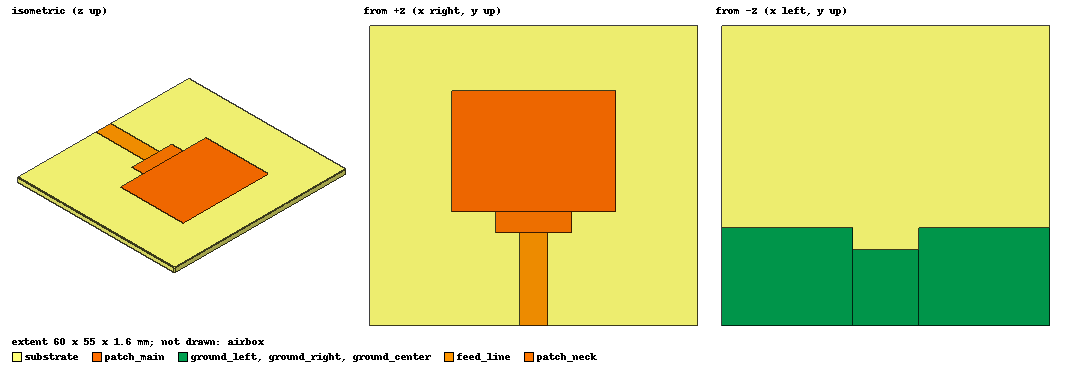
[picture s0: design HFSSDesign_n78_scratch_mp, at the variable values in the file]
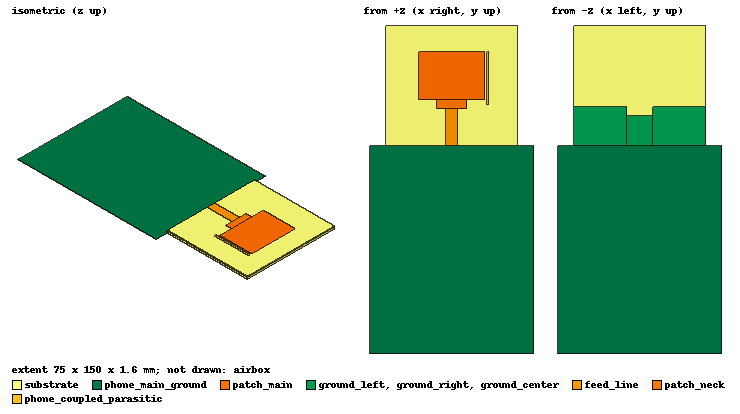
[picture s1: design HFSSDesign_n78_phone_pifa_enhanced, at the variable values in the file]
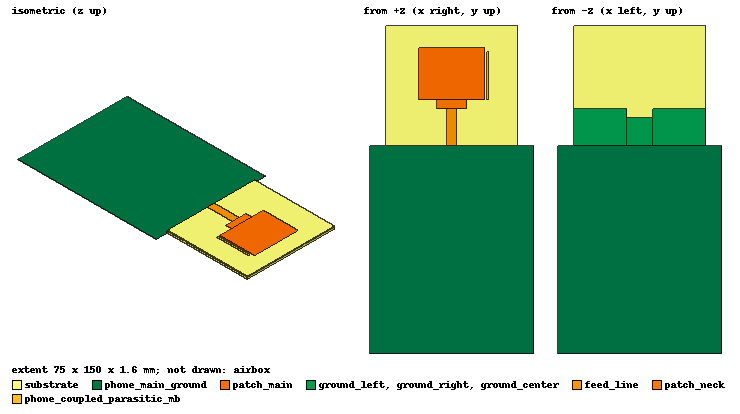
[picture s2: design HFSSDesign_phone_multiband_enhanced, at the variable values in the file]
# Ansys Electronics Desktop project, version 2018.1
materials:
  vacuum: permittivity=1
  Rogers RT/duroid 5880 (tm): permittivity=2.2 dielectric_loss_tangent=0.0009
  copper: permeability=0.999991 conductivity=58000000

design HFSSDesign_n78_scratch_mp (HFSS, DrivenModal, model units mm)
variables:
  subW = 60mm
  subL = 55mm
  h = 1.6mm
  airX = 170mm
  airBack = 38mm
  airFront = 75mm
  airZUp = 60mm
  airZDown = 50mm
  Wf = 5.2mm
  Lf = 17mm
  Wp = 30mm
  Lp = 26mm
  Wneck = 14mm
  Lstep = 4mm
  Lg = 18mm
  Wgn = 12mm
  Ngd = 4mm
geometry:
  substrate [Rogers RT/duroid 5880 (tm)] = box(corner=(-subW/2, 0mm, 0mm), size=(subW, subL, h))
  airbox [vacuum] = box(corner=(-airX/2, -airBack, -airZDown), size=(airX, subL+airBack+airFront, h+airZUp+airZDown))
  feed_line [copper] = rectangle(corner=(-Wf/2, 0mm, h), x_size=Wf, y_size=Lf)
  patch_neck [copper] = rectangle(corner=(-Wneck/2, Lf, h), x_size=Wneck, y_size=Lstep)
  patch_main [copper] = rectangle(corner=(-Wp/2, Lf+Lstep, h), x_size=Wp, y_size=Lp-Lstep)
  ground_left [copper] = rectangle(corner=(-subW/2, 0mm, 0mm), x_size=(subW-Wgn)/2, y_size=Lg)
  ground_right [copper] = rectangle(corner=(Wgn/2, 0mm, 0mm), x_size=(subW-Wgn)/2, y_size=Lg)
  ground_center [copper] = rectangle(corner=(-Wgn/2, 0mm, 0mm), x_size=Wgn, y_size=Lg-Ngd)
  port_sheet [copper] = rectangle(corner=(-Wf/2, 0mm, 0mm), z_size=h, x_size=Wf)
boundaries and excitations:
  Finite_top_metal: Finite Conductivity Objects=[feed_line, patch_neck, patch_main] UseMaterial Material=copper IsTwoSided
  Finite_ground: Finite Conductivity Objects=[ground_left, ground_right, ground_center] UseMaterial Material=copper IsTwoSided
  Rad_airbox: Radiation Objects=airbox
  P1: Lumped Port Faces=port_sheet.face Modes{Mode1{IntLine{middle of port_sheet.edge(z opposite corner) -> middle of port_sheet.edge(z at corner)} CharImp=Zpi RenormImp=50ohm}} Impedance=50ohm
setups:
  Setup_n78_mp_fast: HfssDriven Frequency=3.55GHz MaxDeltaS=0.08 MaximumPasses=2 MinimumPasses=1 MinimumConvergedPasses=1 PercentRefinement=20 BasisOrder=1 PortAccuracy=2 SaveAnyFields=false IESolverType=ACA
    sweep Sweep: 3GHz to 4.2GHz step 0.05GHz; Type=Interpolating InterpTolerance=0.5 InterpMaxSolns=40 InterpUsePortImped=false
  Setup_n78_mp_final: HfssDriven Frequency=3.55GHz MaxDeltaS=0.04 MaximumPasses=4 MinimumPasses=1 MinimumConvergedPasses=1 PercentRefinement=20 BasisOrder=1 PortAccuracy=2 SaveAnyFields=false IESolverType=ACA
    sweep Sweep: 3.2GHz to 4GHz step 0.025GHz; Type=Interpolating InterpTolerance=0.5 InterpMaxSolns=40 InterpUsePortImped=false
  Setup_n78_mp_converged: HfssDriven Frequency=3.55GHz MaxDeltaS=0.05 MaximumPasses=8 MinimumPasses=2 MinimumConvergedPasses=1 PercentRefinement=25 BasisOrder=1 PortAccuracy=2 SaveAnyFields=false IESolverType=ACA
    sweep Sweep: 3.3GHz to 3.8GHz step 0.025GHz; Type=Interpolating InterpTolerance=0.4 InterpMaxSolns=40 InterpUsePortImped=false
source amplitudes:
  P1:1: 1W 0deg
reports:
  S11_n78_mp: dB(S(P1,P1)) vs Freq on Setup_n78_mp_fast : Sweep
  S11_n78_mp_final: dB(S(P1,P1)) vs Freq on Setup_n78_mp_final : Sweep
  S11_n78_mp_formal_refine: dB(S(P1,P1)) vs Freq on Setup_n78_mp_final : Sweep
  S11_n78_mp_optimized_final: dB(S(P1,P1)) vs Freq on Setup_n78_mp_final : Sweep
  S11_n78_mp_converged_final: dB(S(P1,P1)) vs Freq on Setup_n78_mp_converged : Sweep

design HFSSDesign_n78_phone_pifa_enhanced (HFSS, DrivenModal, model units mm)
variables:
  subW = 60mm
  subL = 55mm
  h = 1.6mm
  airX = 170mm
  airBack = 38mm
  airFront = 75mm
  airZUp = 60mm
  airZDown = 50mm
  Wf = 5.2mm
  Lf = 17mm
  Wp = 30mm
  Lp = 26mm
  Wneck = 14mm
  Lstep = 4mm
  Lg = 18mm
  Wgn = 12mm
  Ngd = 4mm
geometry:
  substrate [Rogers RT/duroid 5880 (tm)] = box(corner=(-subW/2, 0mm, 0mm), size=(subW, subL, h))
  airbox [vacuum] = box(corner=(-airX/2, -airBack, -airZDown), size=(airX, subL+airBack+airFront, h+airZUp+airZDown))
  feed_line [copper] = rectangle(corner=(-Wf/2, 0mm, h), x_size=Wf, y_size=Lf)
  patch_neck [copper] = rectangle(corner=(-Wneck/2, Lf, h), x_size=Wneck, y_size=Lstep)
  patch_main [copper] = rectangle(corner=(-Wp/2, Lf+Lstep, h), x_size=Wp, y_size=Lp-Lstep)
  ground_left [copper] = rectangle(corner=(-subW/2, 0mm, 0mm), x_size=(subW-Wgn)/2, y_size=Lg)
  ground_right [copper] = rectangle(corner=(Wgn/2, 0mm, 0mm), x_size=(subW-Wgn)/2, y_size=Lg)
  ground_center [copper] = rectangle(corner=(-Wgn/2, 0mm, 0mm), x_size=Wgn, y_size=Lg-Ngd)
  port_sheet [copper] = rectangle(corner=(-Wf/2, 0mm, 0mm), z_size=h, x_size=Wf)
  phone_main_ground [copper] = rectangle(corner=(-37.5mm, -95mm, 0mm), x_size=75mm, y_size=95mm)
  phone_coupled_parasitic [copper] = rectangle(corner=(15mm+0.9mm, 19mm, 1.6mm), x_size=1.2mm, y_size=24mm)
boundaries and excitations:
  Finite_top_metal: Finite Conductivity Objects=[feed_line, patch_neck, patch_main] UseMaterial Material=copper IsTwoSided
  Finite_ground: Finite Conductivity Objects=[ground_left, ground_right, ground_center] UseMaterial Material=copper IsTwoSided
  Rad_airbox: Radiation Objects=airbox
  Finite_phone_main_ground: Finite Conductivity Objects=phone_main_ground UseMaterial Material=copper IsTwoSided
  Finite_phone_coupled_parasitic: Finite Conductivity Objects=phone_coupled_parasitic UseMaterial Material=copper IsTwoSided
  P1: Lumped Port Faces=port_sheet.face Modes{Mode1{IntLine{middle of port_sheet.edge(z opposite corner) -> middle of port_sheet.edge(z at corner)} CharImp=Zpi RenormImp=50ohm}} Impedance=50ohm
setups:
  Setup_n78_mp_fast: HfssDriven Frequency=3.55GHz MaxDeltaS=0.08 MaximumPasses=2 MinimumPasses=1 MinimumConvergedPasses=1 PercentRefinement=20 BasisOrder=1 PortAccuracy=2 SaveAnyFields=false IESolverType=ACA
    sweep Sweep: 3GHz to 4.2GHz step 0.05GHz; Type=Interpolating InterpTolerance=0.5 InterpMaxSolns=40 InterpUsePortImped=false
  Setup_n78_mp_final: HfssDriven Frequency=3.55GHz MaxDeltaS=0.04 MaximumPasses=4 MinimumPasses=1 MinimumConvergedPasses=1 PercentRefinement=20 BasisOrder=1 PortAccuracy=2 SaveAnyFields=false IESolverType=ACA
    sweep Sweep: 3.2GHz to 4GHz step 0.025GHz; Type=Interpolating InterpTolerance=0.5 InterpMaxSolns=40 InterpUsePortImped=false
  Setup_n78_mp_converged: HfssDriven Frequency=3.55GHz MaxDeltaS=0.05 MaximumPasses=8 MinimumPasses=2 MinimumConvergedPasses=1 PercentRefinement=25 BasisOrder=1 PortAccuracy=2 SaveAnyFields=false IESolverType=ACA
    sweep Sweep: 3.3GHz to 3.8GHz step 0.025GHz; Type=Interpolating InterpTolerance=0.4 InterpMaxSolns=40 InterpUsePortImped=false
  Setup_n78_radiation_3p55: HfssDriven Frequency=3.55GHz MaxDeltaS=0.08 MaximumPasses=2 MinimumPasses=1 MinimumConvergedPasses=1 PercentRefinement=20 BasisOrder=1 PortAccuracy=2 IESolverType=ACA
  Setup_multiband_scan: HfssDriven Frequency=3.5GHz MaxDeltaS=0.08 MaximumPasses=2 MinimumPasses=1 MinimumConvergedPasses=1 PercentRefinement=20 BasisOrder=1 PortAccuracy=2 SaveAnyFields=false IESolverType=ACA
    sweep Sweep_1p5_6p5: 1.5GHz to 6.5GHz step 0.05GHz; Type=Interpolating InterpTolerance=0.5 InterpMaxSolns=70 InterpUsePortImped=false
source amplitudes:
  P1:1: 1W 0deg
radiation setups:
  Paper_InfiniteSphere: Infinite Sphere Theta=0deg..180deg step 5deg Phi=0deg..360deg step 5deg
  Paper_InfiniteSphere_3p55: Infinite Sphere Theta=0deg..180deg step 5deg Phi=0deg..360deg step 5deg
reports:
  S11_n78_mp: dB(S(P1,P1)) vs Freq on Setup_n78_mp_fast : Sweep
  S11_n78_mp_final: dB(S(P1,P1)) vs Freq on Setup_n78_mp_final : Sweep
  S11_n78_mp_formal_refine: dB(S(P1,P1)) vs Freq on Setup_n78_mp_final : Sweep
  S11_n78_mp_optimized_final: dB(S(P1,P1)) vs Freq on Setup_n78_mp_final : Sweep
  S11_n78_mp_converged_final: dB(S(P1,P1)) vs Freq on Setup_n78_mp_converged : Sweep
  S11_phone_pifa_candidate: dB(S(P1,P1)) vs Freq on Setup_n78_mp_converged : Sweep
  Paper_Final_Phone_PIFA_S11: dB(S(P1,P1)) vs Freq on Setup_n78_mp_converged : Sweep
  Paper_Final_Phone_PIFA_Zin: re(Z(P1,P1)), im(Z(P1,P1)), mag(Z(P1,P1)) vs Freq on Setup_n78_mp_converged : Sweep
  Paper_Final_Phone_PIFA_VSWR: VSWR(P1) vs Freq on Setup_n78_mp_converged : Sweep
  Paper_UI_Radiation_Gain_Phi0: dB(GainTotal) vs Theta on Setup_n78_radiation_3p55 : LastAdaptive, Paper_InfiniteSphere_3p55 [Phi=0deg Freq=3.55GHz]
  Paper_UI_Radiation_Gain_Phi90: dB(GainTotal) vs Theta on Setup_n78_radiation_3p55 : LastAdaptive, Paper_InfiniteSphere_3p55 [Phi=90deg Freq=3.55GHz]
  Paper_UI_3D_Gain_Total: dB(GainTotal) vs Phi, Theta on Setup_n78_radiation_3p55 : LastAdaptive, Paper_InfiniteSphere_3p55 [Freq=3.55GHz]
  Paper_01_Final_S11_n78: dB(S(P1,P1)) vs Freq on Setup_n78_mp_converged : Sweep
  Paper_02_Final_VSWR_n78: VSWR(P1) vs Freq on Setup_n78_mp_converged : Sweep
  Paper_03_Final_Input_Impedance: re(Z(P1,P1)), im(Z(P1,P1)), mag(Z(P1,P1)) vs Freq on Setup_n78_mp_converged : Sweep
  Paper_04_Final_Smith_Chart: S(P1,P1) on Setup_n78_mp_converged : Sweep [Freq=all]
  Paper_05_Final_Data_Table: dB(S(P1,P1)), VSWR(P1), re(Z(P1,P1)), im(Z(P1,P1)) vs Freq on Setup_n78_mp_converged : Sweep
  Paper_06_Radiation_Gain_Phi0: dB(GainTotal) vs Theta on Setup_n78_radiation_3p55 : LastAdaptive, Paper_InfiniteSphere_3p55 [Phi=0deg Freq=3.55GHz]
  Paper_07_Radiation_Gain_Phi90: dB(GainTotal) vs Theta on Setup_n78_radiation_3p55 : LastAdaptive, Paper_InfiniteSphere_3p55 [Phi=90deg Freq=3.55GHz]
  Paper_08_3D_Gain_Total: dB(GainTotal) vs Phi, Theta on Setup_n78_radiation_3p55 : LastAdaptive, Paper_InfiniteSphere_3p55 [Freq=3.55GHz]
  Paper_09_Radiation_Polar_Phi0: dB(GainTotal) vs Theta on Setup_n78_radiation_3p55 : LastAdaptive, Paper_InfiniteSphere_3p55 [Phi=0deg Freq=3.55GHz]
  Paper_10_Radiation_Data_Table: dB(GainTotal) vs Theta on Setup_n78_radiation_3p55 : LastAdaptive, Paper_InfiniteSphere_3p55 [Phi=0deg Freq=3.55GHz]
  Paper_11_Theta_Phi_Gain_Surface: dB(GainTotal) vs Theta, Phi on Setup_n78_radiation_3p55 : LastAdaptive, Paper_InfiniteSphere_3p55 [Freq=3.55GHz]
  Paper_12_Theta_Phi_Gain_Contour: dB(GainTotal) vs Theta, Phi on Setup_n78_radiation_3p55 : LastAdaptive, Paper_InfiniteSphere_3p55 [Freq=3.55GHz]
  S11_multiband_baseline_scan: dB(S(P1,P1)) vs Freq on Setup_multiband_scan : Sweep_1p5_6p5

design HFSSDesign_phone_multiband_enhanced (HFSS, DrivenModal, model units mm)
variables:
  subW = 60mm
  subL = 55mm
  h = 1.6mm
  airX = 170mm
  airBack = 38mm
  airFront = 75mm
  airZUp = 60mm
  airZDown = 50mm
  Wf = 4.8mm
  Lf = 17mm
  Wp = 30mm
  Lp = 28mm
  Wneck = 14mm
  Lstep = 4mm
  Lg = 17mm
  Wgn = 12mm
  Ngd = 4mm
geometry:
  substrate [Rogers RT/duroid 5880 (tm)] = box(corner=(-subW/2, 0mm, 0mm), size=(subW, subL, h))
  airbox [vacuum] = box(corner=(-airX/2, -airBack, -airZDown), size=(airX, subL+airBack+airFront, h+airZUp+airZDown))
  feed_line [copper] = rectangle(corner=(-Wf/2, 0mm, h), x_size=Wf, y_size=Lf)
  patch_neck [copper] = rectangle(corner=(-Wneck/2, Lf, h), x_size=Wneck, y_size=Lstep)
  patch_main [copper] = rectangle(corner=(-Wp/2, Lf+Lstep, h), x_size=Wp, y_size=Lp-Lstep)
  ground_left [copper] = rectangle(corner=(-subW/2, 0mm, 0mm), x_size=(subW-Wgn)/2, y_size=Lg)
  ground_right [copper] = rectangle(corner=(Wgn/2, 0mm, 0mm), x_size=(subW-Wgn)/2, y_size=Lg)
  ground_center [copper] = rectangle(corner=(-Wgn/2, 0mm, 0mm), x_size=Wgn, y_size=Lg-Ngd)
  port_sheet [copper] = rectangle(corner=(-Wf/2, 0mm, 0mm), z_size=h, x_size=Wf)
  phone_main_ground [copper] = rectangle(corner=(-37.5mm, -95mm, 0mm), x_size=75mm, y_size=95mm)
  phone_coupled_parasitic_mb [copper] = rectangle(corner=(15mm+0.9mm, 21mm, 1.6mm), x_size=1.2mm, y_size=22mm)
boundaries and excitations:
  Finite_top_metal: Finite Conductivity Objects=[feed_line, patch_neck, patch_main] UseMaterial Material=copper IsTwoSided
  Finite_ground: Finite Conductivity Objects=[ground_left, ground_right, ground_center] UseMaterial Material=copper IsTwoSided
  Rad_airbox: Radiation Objects=airbox
  Finite_phone_main_ground: Finite Conductivity Objects=phone_main_ground UseMaterial Material=copper IsTwoSided
  Finite_phone_coupled_parasitic_mb: Finite Conductivity Objects=phone_coupled_parasitic_mb UseMaterial Material=copper IsTwoSided
  P1: Lumped Port Faces=port_sheet.face Modes{Mode1{IntLine{middle of port_sheet.edge(z opposite corner) -> middle of port_sheet.edge(z at corner)} CharImp=Zpi RenormImp=50ohm}} Impedance=50ohm
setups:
  Setup_n78_mp_fast: HfssDriven Frequency=3.55GHz MaxDeltaS=0.08 MaximumPasses=2 MinimumPasses=1 MinimumConvergedPasses=1 PercentRefinement=20 BasisOrder=1 PortAccuracy=2 SaveAnyFields=false IESolverType=ACA
    sweep Sweep: 3GHz to 4.2GHz step 0.05GHz; Type=Interpolating InterpTolerance=0.5 InterpMaxSolns=40 InterpUsePortImped=false
  Setup_n78_mp_final: HfssDriven Frequency=3.55GHz MaxDeltaS=0.04 MaximumPasses=4 MinimumPasses=1 MinimumConvergedPasses=1 PercentRefinement=20 BasisOrder=1 PortAccuracy=2 SaveAnyFields=false IESolverType=ACA
    sweep Sweep: 3.2GHz to 4GHz step 0.025GHz; Type=Interpolating InterpTolerance=0.5 InterpMaxSolns=40 InterpUsePortImped=false
  Setup_n78_mp_converged: HfssDriven Frequency=3.55GHz MaxDeltaS=0.05 MaximumPasses=8 MinimumPasses=2 MinimumConvergedPasses=1 PercentRefinement=25 BasisOrder=1 PortAccuracy=2 SaveAnyFields=false IESolverType=ACA
    sweep Sweep: 3.3GHz to 3.8GHz step 0.025GHz; Type=Interpolating InterpTolerance=0.4 InterpMaxSolns=40 InterpUsePortImped=false
  Setup_multiband_1p5_6p5: HfssDriven Frequency=3.5GHz MaxDeltaS=0.08 MaximumPasses=2 MinimumPasses=1 MinimumConvergedPasses=1 PercentRefinement=20 BasisOrder=1 PortAccuracy=2 SaveAnyFields=false IESolverType=ACA
    sweep Sweep: 1.5GHz to 6.5GHz step 0.05GHz; Type=Interpolating InterpTolerance=0.5 InterpMaxSolns=70 InterpUsePortImped=false
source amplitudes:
  P1:1: 1W 0deg
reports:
  S11_n78_mp: dB(S(P1,P1)) vs Freq on Setup_n78_mp_fast : Sweep
  S11_n78_mp_final: dB(S(P1,P1)) vs Freq on Setup_n78_mp_final : Sweep
  S11_n78_mp_formal_refine: dB(S(P1,P1)) vs Freq on Setup_n78_mp_final : Sweep
  S11_n78_mp_optimized_final: dB(S(P1,P1)) vs Freq on Setup_n78_mp_final : Sweep
  S11_n78_mp_converged_final: dB(S(P1,P1)) vs Freq on Setup_n78_mp_converged : Sweep
  S11_multiband_candidate: dB(S(P1,P1)) vs Freq on Setup_multiband_1p5_6p5 : Sweep
  Paper_13_Final_Multiband_S11: dB(S(P1,P1)) vs Freq on Setup_multiband_1p5_6p5 : Sweep
